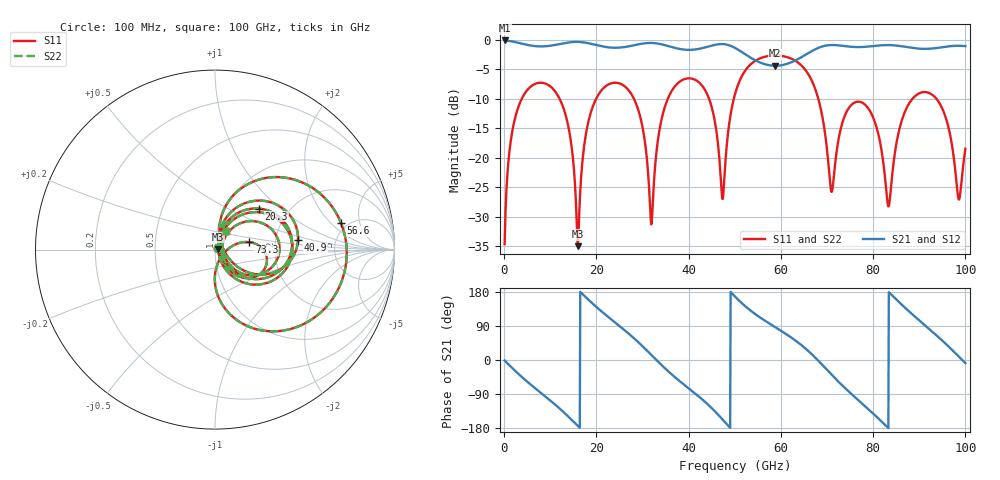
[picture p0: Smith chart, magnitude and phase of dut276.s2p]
! Touchstone file exported from HFSS 2026.1.0
!  File:  C:/ffzhzh/LocalFiles/Ansys_Project_Files/temp_train_TSV_RDL_276_1783676843_29156.aedt
!  Generated:  06:01:33 PM Jul 10, 2026
!  Design:  TSV_RDL
!  Project:  temp_train_TSV_RDL_276_1783676843_29156
! Variables:
!  h_bsmrdl = 3.21um
!  h_ox = 20um
!  h_rdl = 5um
!  h_sub = 85.4um
!  h_tmrdl = 3.56um
!  h_tsv = 85.4um
!  h_via = 3um
!  l_bsmrdl = 104.62um
!  l_sub = 3564.84um
!  l_tmrdl = 682.67um
!  m_sub = 200um
!  pitch = 45.94um
!  r_tsv = 9.74um
!  s_tmrdl = 10um
!  w_bsmrdl = 15.27um
!  w_sub = 500um
!  w_tmrdl = 24.83um
!  x_tsv_center1 = 695.085um
!  x_tsv_center2 = 814.975um
!  x_tsv_center3 = 1522.475um
!  x_tsv_center4 = 1642.365um
!  x_tsv_center5 = 2349.865um
!  x_tsv_center6 = 2469.755um
# GHz S MA R 50.000000
! Terminal data exported
! Port[1] = TM_RDL1_1_T1
! Port[2] = TM_RDL5_1_T1
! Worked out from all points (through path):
!   1000 points, 100 MHz to 100 GHz, reference 50 ohm
!   highest |S21| = -0.13 dB at 100 MHz (marker M1); lowest = -4.4 dB at 58.8 GHz (marker M2)
!   group delay of S21, straight-line fit = 29.9 ps
!   lowest |S11| = -35.0 dB at 16 GHz (marker M3), VSWR 1.04, Z = 51.8 + j0.383 ohm
!   |S11| at or under -10 dB: 12.01 GHz to 19.96 GHz (7.949 GHz wide, 49.7 % of centre); 28.12 GHz to 35.49 GHz (7.375 GHz wide, 23.2 % of centre); 68.1 GHz to 88.54 GHz (20.45 GHz wide, 26.1 % of centre) (the widest 3 of 6)
!   |S22| runs from -35.0 to -2.7 dB; largest |S21 - S12| = 1.4e-13
!   S11 on the Smith chart (normalised r, x): 100 MHz: 1.03, +0.02; 20.3 GHz: 1.43, +0.73; 40.9 GHz: 2.69, +0.35; 56.6 GHz: 4.40, +2.67; 73.3 GHz: 1.47, +0.13; 100 GHz: 1.10, +0.23
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0.1  0.01844 35.3  0.9851 -1.3  0.9851 -1.3  0.01844 35.3
! Gamma 0 0 0 0
! Port Impedance 50 0 50 0
2.4  0.2189 55.7  0.9547 -28.8  0.9547 -28.8  0.2189 55.7
7.7  0.4312 3.7  0.8773 -84.1  0.8773 -84.1  0.4312 3.7
13.3  0.2312 -50.7  0.9384 -142.2  0.9384 -142.2  0.2312 -50.7
16  0.01772 12.0  0.9576 -174.1  0.9576 -174.1  0.01783 12.0
16.8  0.07795 71.5  0.9529 176.3  0.9529 176.3  0.07797 71.4
20.3  0.3348 43.1  0.8945 136.7  0.8945 136.7  0.3348 43.0
28.1  0.3174 -30.3  0.896 57.9  0.896 57.9  0.3173 -30.3
31.9  0.02713 9.0  0.9382 13.4  0.9382 13.4  0.0271 9.3
33.4  0.1466 73.6  0.9255 -4.8  0.9255 -4.8  0.1467 73.6
40.9  0.4653 6.4  0.8221 -83.4  0.8221 -83.4  0.4654 6.3
47.3  0.04471 12.5  0.9175 -156.3  0.9175 -156.3  0.0447 12.5
50.1  0.3503 68.7  0.8503 166.8  0.8503 166.8  0.3504 68.7
56.6  0.7179 11.8  0.6181 103.3  0.6181 103.3  0.7179 11.8
58.8  0.7347 -3.9  0.6013 86.5  0.6013 86.5  0.7347 -3.9
66.7  0.4491 -68.6  0.8001 15.2  0.8001 15.2  0.4491 -68.6
70.9  0.05203 -46.1  0.9011 -37.6  0.9011 -37.6  0.05236 -46.1
73.3  0.196 12.3  0.8878 -67.1  0.8878 -67.1  0.1961 12.1
79.2  0.2524 -38.7  0.8764 -132.2  0.8764 -132.2  0.2523 -38.9
83.4  0.03883 5.3  0.9002 179.0  0.9002 179.0  0.03773 5.5
91.7  0.3576 -3.4  0.8366 86.8  0.8366 86.8  0.3576 -3.2
100  0.1188 59.5  0.8817 -8.2  0.8817 -8.2  0.1193 59.0
